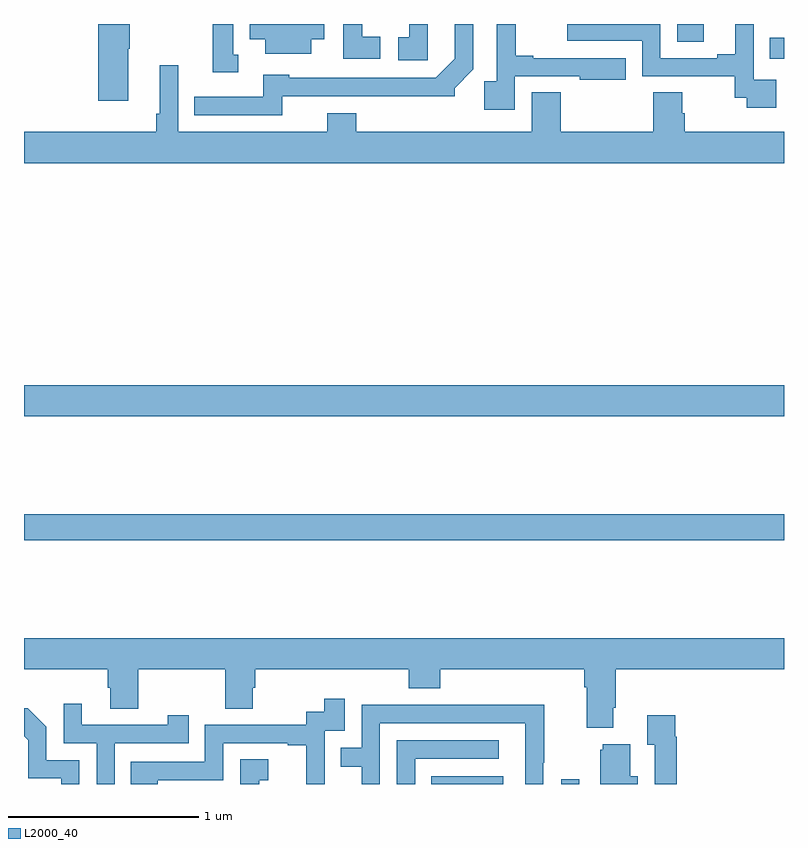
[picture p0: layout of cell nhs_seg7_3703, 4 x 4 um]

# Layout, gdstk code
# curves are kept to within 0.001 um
import gdstk
lib = gdstk.Library(unit=1e-6, precision=1e-09)
def R(c, l, rs):  # rectangles x0, y0, x1, y1
    for r in rs: c.add(gdstk.rectangle(r[:2], r[2:], *l))
def P(c, l, *ps):  # polygons
    for p in ps: c.add(gdstk.Polygon(p, *l))
L2000_40 = (2000, 40)

nhs_seg7_3703 = lib.new_cell('nhs_seg7_3703')
R(nhs_seg7_3703, L2000_40, [(349.144,1012,349.522,1012.042), (349.827,1012,349.923,1012.024), (347,1013.284,351,1013.42), (347,1013.936,351,1014.1), (350.926,1015.818,351,1015.927), (350.438,1015.906,350.578,1016)])
P(nhs_seg7_3703, L2000_40, [(348.511,1015.919),(348.58,1015.919),(348.58,1016),(348.187,1016),(348.187,1015.919),(348.269,1015.919),(348.269,1015.844),(348.511,1015.844)],
  [(349.584,1015.725),(349.925,1015.725),(349.925,1015.706),(350.168,1015.706),(350.168,1015.821),(349.681,1015.821),(349.681,1015.834),(349.589,1015.834),(349.589,1016),(349.488,1016),(349.488,1015.699),(349.423,1015.699),(349.423,1015.548),(349.584,1015.548)],
  [(348.874,1015.934),(348.78,1015.934),(348.78,1016),(348.681,1016),(348.681,1015.818),(348.874,1015.818)],
  [(348.127,1015.839),(348.102,1015.839),(348.102,1016),(347.994,1016),(347.994,1015.745),(348.127,1015.745)],
  [(348.36,1015.62),(349.266,1015.619),(349.266,1015.663),(349.365,1015.762),(349.365,1016),(349.268,1016),(349.268,1015.817),(349.167,1015.716),(348.396,1015.716),(348.396,1015.732),(348.26,1015.732),(348.26,1015.617),(347.896,1015.617),(347.896,1015.521),(348.36,1015.521)],
  [(347.548,1015.87),(347.556,1015.87),(347.556,1016),(347.39,1016),(347.39,1015.596),(347.548,1015.596)],
  [(350.959,1015.707),(350.841,1015.707),(350.841,1016),(350.744,1016),(350.744,1015.841),(350.648,1015.841),(350.648,1015.821),(350.349,1015.821),(350.349,1016),(349.858,1016),(349.858,1015.911),(350.253,1015.911),(350.253,1015.725),(350.74,1015.725),(350.74,1015.611),(350.803,1015.611),(350.803,1015.56),(350.959,1015.56)],
  [(349.126,1016),(349.027,1016),(349.027,1015.929),(348.969,1015.929),(348.969,1015.809),(349.126,1015.809)],
  [(351,1015.432),(350.477,1015.432),(350.477,1015.53),(350.464,1015.53),(350.464,1015.64),(350.312,1015.64),(350.312,1015.432),(349.826,1015.432),(349.826,1015.64),(349.673,1015.64),(349.673,1015.432),(348.749,1015.432),(348.749,1015.531),(348.596,1015.531),(348.596,1015.432),(347.811,1015.432),(347.811,1015.783),(347.714,1015.783),(347.714,1015.528),(347.695,1015.528),(347.695,1015.432),(347,1015.432),(347,1015.268),(351,1015.268)],
  [(350.101,1012.402),(350.114,1012.402),(350.114,1012.604),(351,1012.604),(351,1012.768),(347,1012.768),(347,1012.604),(347.441,1012.604),(347.441,1012.506),(347.453,1012.506),(347.453,1012.396),(347.601,1012.396),(347.601,1012.604),(348.058,1012.604),(348.058,1012.396),(348.205,1012.396),(348.205,1012.506),(348.218,1012.506),(348.218,1012.604),(349.025,1012.604),(349.025,1012.505),(349.19,1012.505),(349.19,1012.604),(349.949,1012.604),(349.949,1012.508),(349.961,1012.508),(349.961,1012.295),(350.101,1012.295)],
  [(347.703,1012.02),(348.048,1012.02),(348.048,1012.215),(348.389,1012.215),(348.389,1012.203),(348.485,1012.203),(348.485,1012),(348.584,1012),(348.584,1012.052),(348.582,1012.052),(348.582,1012.281),(348.687,1012.281),(348.687,1012.45),(348.579,1012.45),(348.579,1012.38),(348.486,1012.38),(348.486,1012.311),(347.952,1012.311),(347.952,1012.116),(347.563,1012.116),(347.563,1012),(347.703,1012)],
  [(347.478,1012.215),(347.867,1012.215),(347.867,1012.363),(347.756,1012.363),(347.756,1012.311),(347.305,1012.311),(347.305,1012.423),(347.208,1012.423),(347.208,1012.215),(347.382,1012.215),(347.382,1012),(347.478,1012)],
  [(348.873,1012.32),(349.638,1012.32),(349.638,1012),(349.734,1012),(349.734,1012.111),(349.737,1012.111),(349.737,1012.418),(349.273,1012.418),(349.273,1012.416),(348.777,1012.416),(348.777,1012.191),(348.667,1012.191),(348.667,1012.09),(348.777,1012.09),(348.777,1012),(348.873,1012)],
  [(347.292,1012.125),(347.118,1012.125),(347.118,1012.302),(347.02,1012.4),(347,1012.4),(347,1012.252),(347.022,1012.23),(347.022,1012.029),(347.195,1012.029),(347.195,1012),(347.292,1012)],
  [(350.435,1012.25),(350.428,1012.25),(350.428,1012.363),(350.279,1012.363),(350.279,1012.207),(350.319,1012.207),(350.319,1012),(350.435,1012)],
  [(349.059,1012.134),(349.498,1012.134),(349.498,1012.23),(348.963,1012.23),(348.963,1012),(349.059,1012)],
  [(350.23,1012.042),(350.191,1012.042),(350.191,1012.21),(350.045,1012.21),(350.045,1012.179),(350.033,1012.179),(350.033,1012),(350.23,1012)],
  [(348.237,1012.019),(348.286,1012.019),(348.286,1012.129),(348.138,1012.129),(348.138,1012),(348.237,1012)])

lib.write_gds('nhs_seg7_3703.gds')
